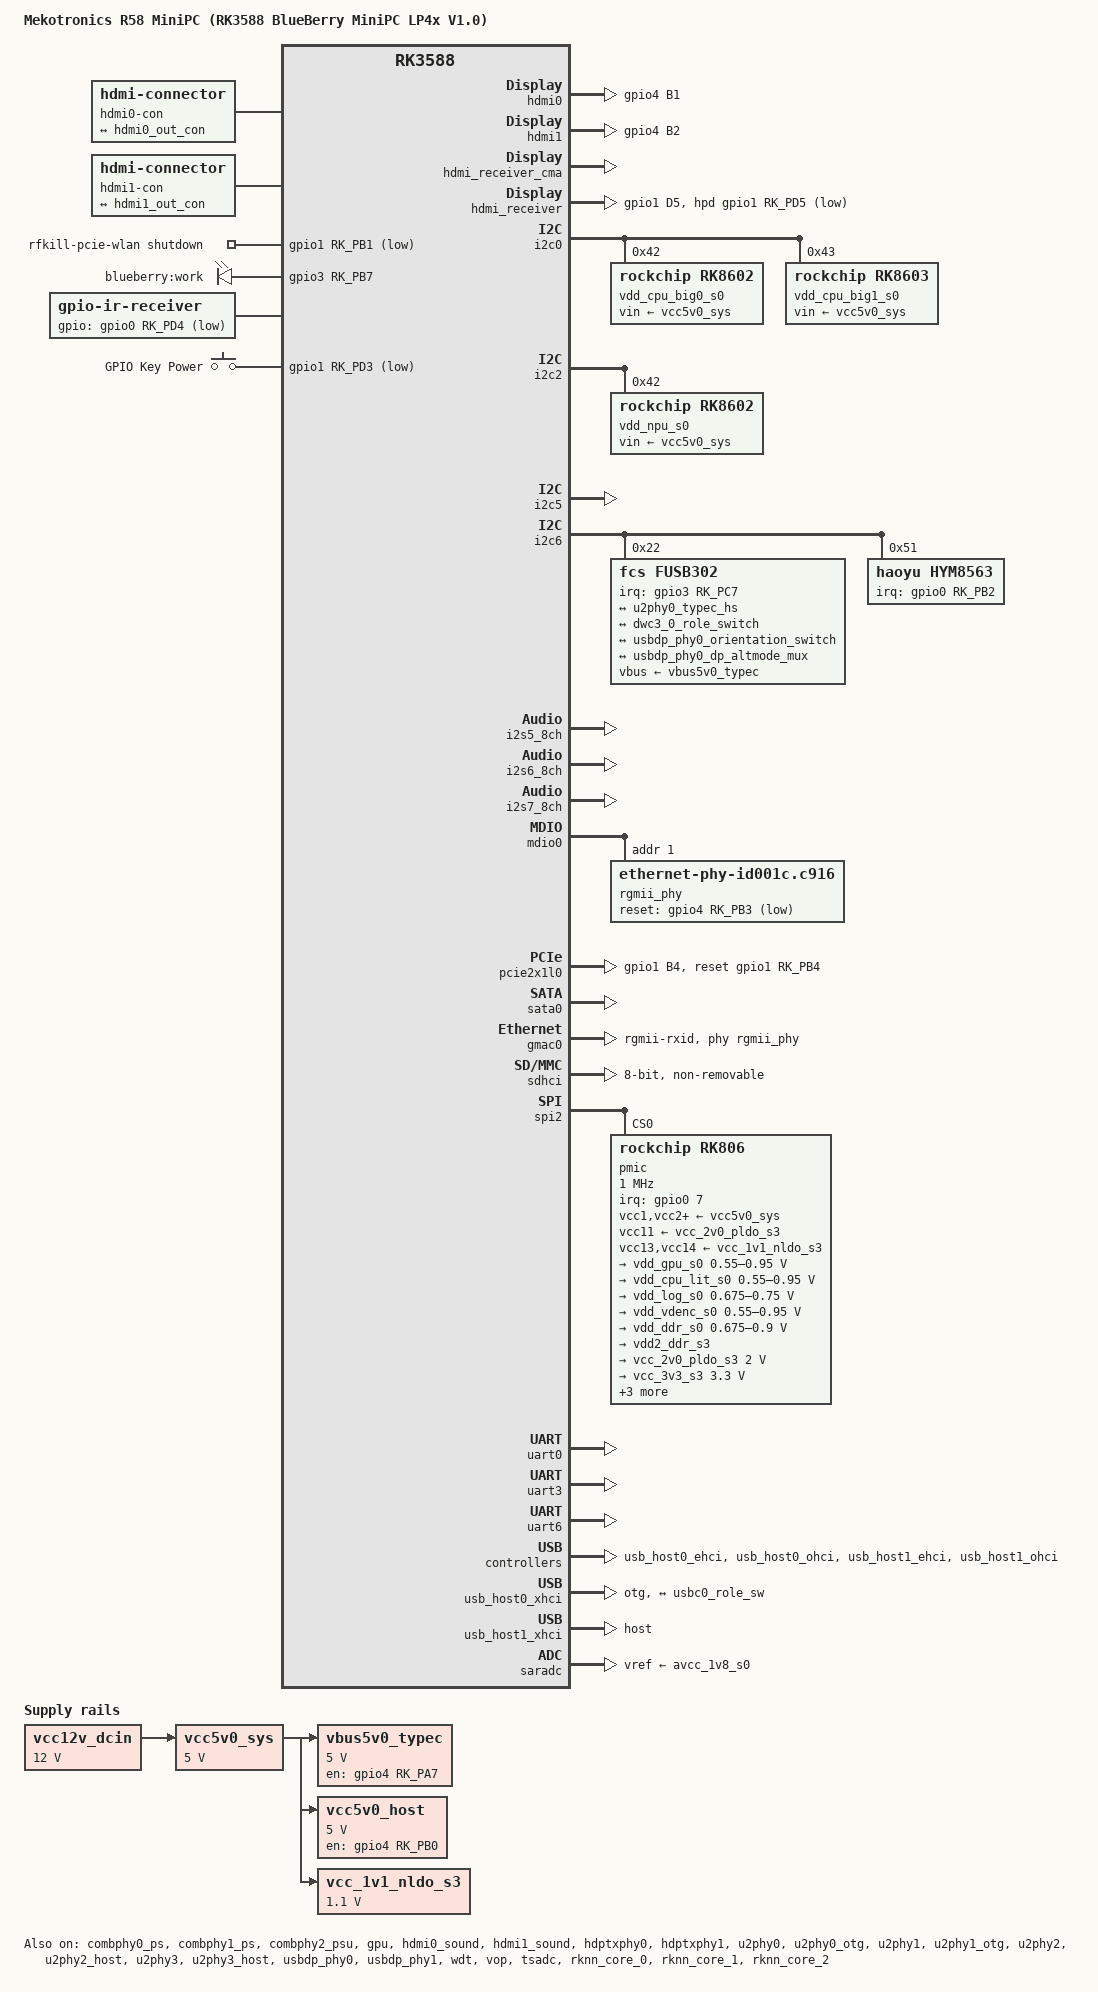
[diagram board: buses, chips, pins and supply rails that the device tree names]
// SPDX-License-Identifier: (GPL-2.0+ OR MIT)
/*
 * Copyright (c) 2026, Corey Moyer <cronmod.dev@gmail.com>
 */

/dts-v1/;

#include <dt-bindings/gpio/gpio.h>
#include <dt-bindings/input/input.h>
#include <dt-bindings/pinctrl/rockchip.h>
#include <dt-bindings/soc/rockchip,vop2.h>
#include <dt-bindings/usb/pd.h>
#include "rk3588.dtsi"

/ {
	model = "Mekotronics R58 MiniPC (RK3588 BlueBerry MiniPC LP4x V1.0)";
	compatible = "rockchip,rk3588-blueberry-minipc", "rockchip,rk3588";

	aliases {
		ethernet0 = &gmac0;
		mmc0 = &sdhci;
	};

	chosen {
		stdout-path = "serial2:1500000n8";
	};

	hdmi0-con {
		compatible = "hdmi-connector";
		type = "a";

		port {
			hdmi0_con_in: endpoint {
				remote-endpoint = <&hdmi0_out_con>;
			};
		};
	};

	hdmi1-con {
		compatible = "hdmi-connector";
		type = "a";

		port {
			hdmi1_con_in: endpoint {
				remote-endpoint = <&hdmi1_out_con>;
			};
		};
	};

	hdmi0-sound {
		compatible = "simple-audio-card";
		simple-audio-card,name = "rockchip-hdmi0";
		simple-audio-card,format = "i2s";
		simple-audio-card,mclk-fs = <128>;

		simple-audio-card,cpu {
			sound-dai = <&i2s5_8ch>;
		};

		simple-audio-card,codec {
			sound-dai = <&hdmi0>;
		};
	};

	hdmi1-sound {
		compatible = "simple-audio-card";
		simple-audio-card,name = "rockchip-hdmi1";
		simple-audio-card,format = "i2s";
		simple-audio-card,mclk-fs = <128>;

		simple-audio-card,cpu {
			sound-dai = <&i2s6_8ch>;
		};

		simple-audio-card,codec {
			sound-dai = <&hdmi1>;
		};
	};

	rfkill {
		compatible = "rfkill-gpio";
		label = "rfkill-pcie-wlan";
		radio-type = "wlan";
		shutdown-gpios = <&gpio1 RK_PB1 GPIO_ACTIVE_LOW>;
	};

	leds: leds {
		compatible = "gpio-leds";
		pinctrl-names = "default";
		pinctrl-0 = <&led_pins>;

/*		wifi_led: wifi-led {
			gpios = <&gpio3 RK_PC5 GPIO_ACTIVE_HIGH>;
			default-state = "off";
			label = "blueberry:wifi";
			function = "wifi";
		};

		hdd_led: hdd-led {
			gpios = <&gpio3 RK_PC1 GPIO_ACTIVE_HIGH>;
			default-state = "off";
			label = "blueberry:hdd";
			function = "disk-io";
		};

		eth_led: eth-led {
			gpios = <&gpio3 RK_PC0 GPIO_ACTIVE_HIGH>;
			default-state = "off";
			label = "blueberry:eth";
			function = "net";
		};*/

		work_led: work-led {
			gpios = <&gpio3 RK_PB7 GPIO_ACTIVE_HIGH>;
			default-state = "on";
			label = "blueberry:work";
			linux,default-trigger = "heartbeat";
			function = "heartbeat";
		};
	};

	ir-receiver {
		compatible = "gpio-ir-receiver";
		gpios = <&gpio0 RK_PD4 GPIO_ACTIVE_LOW>;
		pinctrl-names = "default";
		pinctrl-0 = <&ir_receiver_pin>;
	};

	gpio-keys {
		compatible = "gpio-keys";
		pinctrl-names = "default";
		pinctrl-0 = <&pwrbtn>;

		power {
			debounce-interval = <100>;
			gpios = <&gpio1 RK_PD3 GPIO_ACTIVE_LOW>;
			label = "GPIO Key Power";
			linux,code = <KEY_POWER>;
			wakeup-source;
		};
	};

	vcc12v_dcin: vcc12v-dcin {
		compatible = "regulator-fixed";
		regulator-name = "vcc12v_dcin";
		regulator-always-on;
		regulator-boot-on;
		regulator-min-microvolt = <12000000>;
		regulator-max-microvolt = <12000000>;
	};

	vbus5v0_typec: regulator-vbus5v0-typec {
		compatible = "regulator-fixed";
		regulator-name = "vbus5v0_typec";
		regulator-min-microvolt = <5000000>;
		regulator-max-microvolt = <5000000>;
		enable-active-high;
		gpio = <&gpio4 RK_PA7 GPIO_ACTIVE_HIGH>;
		pinctrl-names = "default";
		pinctrl-0 = <&typec5v_pwren>;
		vin-supply = <&vcc5v0_sys>;
	};

	vcc5v0_sys: vcc5v0-sys {
		compatible = "regulator-fixed";
		regulator-name = "vcc5v0_sys";
		regulator-always-on;
		regulator-boot-on;
		regulator-min-microvolt = <5000000>;
		regulator-max-microvolt = <5000000>;
		vin-supply = <&vcc12v_dcin>;
	};

	vcc5v0_host: vcc5v0-host {
		compatible = "regulator-fixed";
		regulator-name = "vcc5v0_host";
		regulator-boot-on;
		regulator-always-on;
		regulator-min-microvolt = <5000000>;
		regulator-max-microvolt = <5000000>;
		enable-active-high;
		gpio = <&gpio4 RK_PB0 GPIO_ACTIVE_HIGH>;
		pinctrl-names = "default";
		pinctrl-0 = <&vcc5v0_host_en>;
		vin-supply = <&vcc5v0_sys>;
	};

	vcc_1v1_nldo_s3: vcc-1v1-nldo-s3 {
		compatible = "regulator-fixed";
		regulator-name = "vcc_1v1_nldo_s3";
		regulator-always-on;
		regulator-boot-on;
		regulator-min-microvolt = <1100000>;
		regulator-max-microvolt = <1100000>;
		vin-supply = <&vcc5v0_sys>;
	};
};

&combphy0_ps {
	status = "okay";
};

&combphy1_ps {
	status = "okay";
};

&combphy2_psu {
	status = "okay";
};

&cpu_l0 {
	cpu-supply = <&vdd_cpu_lit_s0>;
};

&cpu_l1 {
	cpu-supply = <&vdd_cpu_lit_s0>;
};

&cpu_l2 {
	cpu-supply = <&vdd_cpu_lit_s0>;
};

&cpu_l3 {
	cpu-supply = <&vdd_cpu_lit_s0>;
};

&cpu_b0 {
	cpu-supply = <&vdd_cpu_big0_s0>;
};

&cpu_b1 {
	cpu-supply = <&vdd_cpu_big0_s0>;
};

&cpu_b2 {
	cpu-supply = <&vdd_cpu_big1_s0>;
};

&cpu_b3 {
	cpu-supply = <&vdd_cpu_big1_s0>;
};

&gpu {
	mali-supply = <&vdd_gpu_s0>;
	status = "okay";
};

/*&dp1 {
	pinctrl-0 = <&dp1m0_pins>;
	pinctrl-names = "default";
	status = "okay";
};*/

&hdmi0 {
	enable-gpios = <&gpio4 RK_PB1 GPIO_ACTIVE_HIGH>;
	pinctrl-0 = <&hdmim0_tx0_cec &hdmim0_tx0_hpd
		     &hdmim0_tx0_scl &hdmim0_tx0_sda &hdmi0_tx_on_h>;
	pinctrl-names = "default";
	status = "okay";
};

&hdmi0_in {
	hdmi0_in_vp0: endpoint {
		remote-endpoint = <&vp0_out_hdmi0>;
	};
};

&hdmi0_out {
	hdmi0_out_con: endpoint {
		remote-endpoint = <&hdmi0_con_in>;
	};
};

&hdmi0_sound {
	status = "okay";
};

&hdmi1 {
	enable-gpios = <&gpio4 RK_PB2 GPIO_ACTIVE_HIGH>;
	pinctrl-0 = <&hdmim0_tx1_cec &hdmim0_tx1_hpd
		     &hdmim1_tx1_scl &hdmim1_tx1_sda &hdmi1_tx_on_h>;
	pinctrl-names = "default";
	status = "okay";
};

&hdmi1_in {
	hdmi1_in_vp1: endpoint {
		remote-endpoint = <&vp1_out_hdmi1>;
	};
};

&hdmi1_out {
	hdmi1_out_con: endpoint {
		remote-endpoint = <&hdmi1_con_in>;
	};
};

&hdmi1_sound {
	status = "okay";
};

&hdptxphy0 {
	status = "okay";
};

&hdptxphy1 {
	status = "okay";
};

&hdmi_receiver_cma {
	status = "okay";
};

&hdmi_receiver {
	hpd-gpios = <&gpio1 RK_PD5 GPIO_ACTIVE_LOW>;
	pinctrl-0 = <&hdmim1_rx_cec &hdmim1_rx_hpdin &hdmim1_rx_scl &hdmim1_rx_sda &hdmirx_hpd>;
	pinctrl-names = "default";
	status = "okay";
};

&i2c0 {
	pinctrl-names = "default";
	pinctrl-0 = <&i2c0m2_xfer>;
	status = "okay";

	vdd_cpu_big0_s0: regulator@42 {
		compatible = "rockchip,rk8602";
		reg = <0x42>;
		fcs,suspend-voltage-selector = <1>;
		regulator-name = "vdd_cpu_big0_s0";
		regulator-always-on;
		regulator-boot-on;
		regulator-min-microvolt = <550000>;
		regulator-max-microvolt = <1050000>;
		regulator-ramp-delay = <2300>;
		vin-supply = <&vcc5v0_sys>;

		regulator-state-mem {
			regulator-off-in-suspend;
		};
	};

	vdd_cpu_big1_s0: regulator@43 {
		compatible = "rockchip,rk8603", "rockchip,rk8602";
		reg = <0x43>;
		fcs,suspend-voltage-selector = <1>;
		regulator-name = "vdd_cpu_big1_s0";
		regulator-always-on;
		regulator-boot-on;
		regulator-min-microvolt = <550000>;
		regulator-max-microvolt = <1050000>;
		regulator-ramp-delay = <2300>;
		vin-supply = <&vcc5v0_sys>;

		regulator-state-mem {
			regulator-off-in-suspend;
		};
	};
};

&i2c2 {
	status = "okay";

	vdd_npu_s0: regulator@42 {
		compatible = "rockchip,rk8602";
		reg = <0x42>;
		fcs,suspend-voltage-selector = <1>;
		regulator-name = "vdd_npu_s0";
		regulator-boot-on;
		regulator-always-on;
		regulator-enable-ramp-delay = <500>;
		regulator-min-microvolt = <550000>;
		regulator-max-microvolt = <950000>;
		regulator-ramp-delay = <2300>;
		vin-supply = <&vcc5v0_sys>;

		regulator-state-mem {
			regulator-off-in-suspend;
		};
	};
};

&i2c5 {
	pinctrl-names = "default";
	pinctrl-0 = <&i2c5m3_xfer>;
	status = "okay";
};

&i2c6 {
	status = "okay";

	fusb302: fusb302@22 {
		compatible = "fcs,fusb302";
		reg = <0x22>;
		interrupt-parent = <&gpio3>;
		interrupts = <RK_PC7 IRQ_TYPE_LEVEL_LOW>;
		pinctrl-names = "default";
		pinctrl-0 = <&usbc0_int>;
		vbus-supply = <&vbus5v0_typec>;
		status = "okay";

		usb_con: connector {
			compatible = "usb-c-connector";
			label = "USB-C";
			data-role = "dual";
			power-role = "dual";
			try-power-role = "sink";
			op-sink-microwatt = <1000000>;
			sink-pdos = <PDO_FIXED(5000, 1000, PDO_FIXED_USB_COMM)>;
			source-pdos = <PDO_FIXED(5000, 3000, PDO_FIXED_USB_COMM)>;

			altmodes {
				#address-cells = <1>;
				#size-cells = <0>;

				altmode@0 {
					reg = <0>;
					svid = <0xff01>;
					vdo = <0xffffffff>;
				};
			};

			ports {
				#address-cells = <1>;
				#size-cells = <0>;

				port@0 {
					reg = <0>;
					usbc0_hs_sw: endpoint {
						remote-endpoint = <&u2phy0_typec_hs>;
					};
				};

				/* Port 1: Data Role Switching (DWC3 Core) */
				port@1 {
					reg = <1>;
					usbc0_role_sw: endpoint {
						remote-endpoint = <&dwc3_0_role_switch>;
					};
				};

				/* Port 2: Physical Orientation Configuration */
				port@2 {
					reg = <2>;
					usbc0_orien_sw: endpoint {
						remote-endpoint = <&usbdp_phy0_orientation_switch>;
					};
				};

				/* Port 3: DisplayPort Mux Configuration Link */
				port@3 {
					reg = <3>;
					dp_altmode_mux: endpoint {
						remote-endpoint = <&usbdp_phy0_dp_altmode_mux>;
					};
				};
			};
		};
	};

	hym8563: rtc@51 {
		compatible = "haoyu,hym8563";
		reg = <0x51>;
		#clock-cells = <0>;
		clock-output-names = "hym8563";
		pinctrl-names = "default";
		pinctrl-0 = <&hym8563_int>;
		interrupt-parent = <&gpio0>;
		interrupts = <RK_PB2 IRQ_TYPE_LEVEL_LOW>;
		wakeup-source;
	};
};

/* HDMI0 Sound */
&i2s5_8ch {
	status = "okay";
};

/* HDMI1 Sound */
&i2s6_8ch {
	status = "okay";
};

/* HDMI-IN Sound */
&i2s7_8ch {
	status = "okay";
};

&mdio0 {
	rgmii_phy: ethernet-phy@1 {
		/* RTL8211F */
		compatible = "ethernet-phy-id001c.c916";
		reg = <0x1>;
		pinctrl-names = "default";
		pinctrl-0 = <&rtl8211f_rst>;
		reset-assert-us = <20000>;
		reset-deassert-us = <100000>;
		reset-gpios = <&gpio4 RK_PB3 GPIO_ACTIVE_LOW>;
	};
};

&pcie2x1l0 {
	pinctrl-names = "default";
	pinctrl-0 = <&pcie2_0_rst>;
	reset-gpios = <&gpio1 RK_PB4 GPIO_ACTIVE_HIGH>;
	status = "okay";
};

&sata0 {
	status = "okay";
};

&gmac0 {
	clock_in_out = "output";
	phy-handle = <&rgmii_phy>;
	phy-mode = "rgmii-rxid";
	pinctrl-0 = <&gmac0_miim
		     &gmac0_tx_bus2
		     &gmac0_rx_bus2
		     &gmac0_rgmii_clk
		     &gmac0_rgmii_bus>;
	pinctrl-names = "default";
	rx_delay = <0x00>;
	tx_delay = <0x44>;
	status = "okay";
};

&sdhci {
	bus-width = <8>;
	no-sdio;
	no-sd;
	non-removable;
	max-frequency = <200000000>;
	mmc-hs400-1_8v;
	mmc-hs400-enhanced-strobe;
	status = "okay";
};

&spi2 {
	status = "okay";
	assigned-clocks = <&cru CLK_SPI2>;
	assigned-clock-rates = <200000000>;
	pinctrl-names = "default";
	pinctrl-0 = <&spi2m2_cs0 &spi2m2_pins>;
	num-cs = <1>;

	pmic@0 {
		compatible = "rockchip,rk806";
		spi-max-frequency = <1000000>;
		reg = <0x0>;

		interrupt-parent = <&gpio0>;
		interrupts = <7 IRQ_TYPE_LEVEL_LOW>;

		pinctrl-names = "default";
		pinctrl-0 = <&pmic_pins>, <&rk806_dvs1_null>,
			    <&rk806_dvs2_null>, <&rk806_dvs3_null>;

		system-power-controller;

		vcc1-supply = <&vcc5v0_sys>;
		vcc2-supply = <&vcc5v0_sys>;
		vcc3-supply = <&vcc5v0_sys>;
		vcc4-supply = <&vcc5v0_sys>;
		vcc5-supply = <&vcc5v0_sys>;
		vcc6-supply = <&vcc5v0_sys>;
		vcc7-supply = <&vcc5v0_sys>;
		vcc8-supply = <&vcc5v0_sys>;
		vcc9-supply = <&vcc5v0_sys>;
		vcc10-supply = <&vcc5v0_sys>;
		vcc11-supply = <&vcc_2v0_pldo_s3>;
		vcc12-supply = <&vcc5v0_sys>;
		vcc13-supply = <&vcc_1v1_nldo_s3>;
		vcc14-supply = <&vcc_1v1_nldo_s3>;
		vcca-supply = <&vcc5v0_sys>;

		gpio-controller;
		#gpio-cells = <2>;

		rk806_dvs1_null: dvs1-null-pins {
			pins = "gpio_pwrctrl1";
			function = "pin_fun0";
		};

		rk806_dvs2_null: dvs2-null-pins {
			pins = "gpio_pwrctrl2";
			function = "pin_fun0";
		};

		rk806_dvs3_null: dvs3-null-pins {
			pins = "gpio_pwrctrl3";
			function = "pin_fun0";
		};

		regulators {
			vdd_gpu_s0: vdd_gpu_mem_s0: dcdc-reg1 {
				regulator-boot-on;
				regulator-min-microvolt = <550000>;
				regulator-max-microvolt = <950000>;
				regulator-ramp-delay = <12500>;
				regulator-name = "vdd_gpu_s0";
				regulator-enable-ramp-delay = <400>;

				regulator-state-mem {
					regulator-off-in-suspend;
				};
			};

			vdd_cpu_lit_s0: vdd_cpu_lit_mem_s0: dcdc-reg2 {
				regulator-always-on;
				regulator-boot-on;
				regulator-min-microvolt = <550000>;
				regulator-max-microvolt = <950000>;
				regulator-ramp-delay = <12500>;
				regulator-name = "vdd_cpu_lit_s0";

				regulator-state-mem {
					regulator-off-in-suspend;
				};
			};

			vdd_log_s0: dcdc-reg3 {
				regulator-always-on;
				regulator-boot-on;
				regulator-min-microvolt = <675000>;
				regulator-max-microvolt = <750000>;
				regulator-ramp-delay = <12500>;
				regulator-name = "vdd_log_s0";

				regulator-state-mem {
					regulator-off-in-suspend;
					regulator-suspend-microvolt = <750000>;
				};
			};

			vdd_vdenc_s0: vdd_vdenc_mem_s0: dcdc-reg4 {
				regulator-always-on;
				regulator-boot-on;
				regulator-min-microvolt = <550000>;
				regulator-max-microvolt = <950000>;
				regulator-ramp-delay = <12500>;
				regulator-name = "vdd_vdenc_s0";

				regulator-state-mem {
					regulator-off-in-suspend;
				};
			};

			vdd_ddr_s0: dcdc-reg5 {
				regulator-always-on;
				regulator-boot-on;
				regulator-min-microvolt = <675000>;
				regulator-max-microvolt = <900000>;
				regulator-ramp-delay = <12500>;
				regulator-name = "vdd_ddr_s0";

				regulator-state-mem {
					regulator-off-in-suspend;
					regulator-suspend-microvolt = <850000>;
				};
			};

			vdd2_ddr_s3: dcdc-reg6 {
				regulator-always-on;
				regulator-boot-on;
				regulator-name = "vdd2_ddr_s3";

				regulator-state-mem {
					regulator-on-in-suspend;
				};
			};

			vcc_2v0_pldo_s3: dcdc-reg7 {
				regulator-always-on;
				regulator-boot-on;
				regulator-min-microvolt = <2000000>;
				regulator-max-microvolt = <2000000>;
				regulator-ramp-delay = <12500>;
				regulator-name = "vdd_2v0_pldo_s3";

				regulator-state-mem {
					regulator-on-in-suspend;
					regulator-suspend-microvolt = <2000000>;
				};
			};

			vcc_3v3_s3: dcdc-reg8 {
				regulator-always-on;
				regulator-boot-on;
				regulator-min-microvolt = <3300000>;
				regulator-max-microvolt = <3300000>;
				regulator-name = "vcc_3v3_s3";

				regulator-state-mem {
					regulator-on-in-suspend;
					regulator-suspend-microvolt = <3300000>;
				};
			};

			vddq_ddr_s0: dcdc-reg9 {
				regulator-always-on;
				regulator-boot-on;
				regulator-name = "vddq_ddr_s0";

				regulator-state-mem {
					regulator-off-in-suspend;
				};
			};

			vcc_1v8_s3: dcdc-reg10 {
				regulator-always-on;
				regulator-boot-on;
				regulator-min-microvolt = <1800000>;
				regulator-max-microvolt = <1800000>;
				regulator-name = "vcc_1v8_s3";

				regulator-state-mem {
					regulator-on-in-suspend;
					regulator-suspend-microvolt = <1800000>;
				};
			};

			avcc_1v8_s0: pldo-reg1 {
				regulator-always-on;
				regulator-boot-on;
				regulator-min-microvolt = <1800000>;
				regulator-max-microvolt = <1800000>;
				regulator-name = "avcc_1v8_s0";

				regulator-state-mem {
					regulator-off-in-suspend;
				};
			};

			vcc_1v8_s0: pldo-reg2 {
				regulator-always-on;
				regulator-boot-on;
				regulator-min-microvolt = <1800000>;
				regulator-max-microvolt = <1800000>;
				regulator-name = "vcc_1v8_s0";

				regulator-state-mem {
					regulator-off-in-suspend;
					regulator-suspend-microvolt = <1800000>;
				};
			};

			avdd_1v2_s0: pldo-reg3 {
				regulator-always-on;
				regulator-boot-on;
				regulator-min-microvolt = <1200000>;
				regulator-max-microvolt = <1200000>;
				regulator-name = "avdd_1v2_s0";

				regulator-state-mem {
					regulator-off-in-suspend;
				};
			};

			vcc_3v3_s0: pldo-reg4 {
				regulator-always-on;
				regulator-boot-on;
				regulator-min-microvolt = <3300000>;
				regulator-max-microvolt = <3300000>;
				regulator-ramp-delay = <12500>;
				regulator-name = "vcc_3v3_s0";

				regulator-state-mem {
					regulator-off-in-suspend;
				};
			};

			vccio_sd_s0: pldo-reg5 {
				regulator-always-on;
				regulator-boot-on;
				regulator-min-microvolt = <1800000>;
				regulator-max-microvolt = <3300000>;
				regulator-ramp-delay = <12500>;
				regulator-name = "vccio_sd_s0";

				regulator-state-mem {
					regulator-off-in-suspend;
				};
			};

			pldo6_s3: pldo-reg6 {
				regulator-always-on;
				regulator-boot-on;
				regulator-min-microvolt = <1800000>;
				regulator-max-microvolt = <1800000>;
				regulator-name = "pldo6_s3";

				regulator-state-mem {
					regulator-on-in-suspend;
					regulator-suspend-microvolt = <1800000>;
				};
			};

			vdd_0v75_s3: nldo-reg1 {
				regulator-always-on;
				regulator-boot-on;
				regulator-min-microvolt = <750000>;
				regulator-max-microvolt = <750000>;
				regulator-name = "vdd_0v75_s3";

				regulator-state-mem {
					regulator-on-in-suspend;
					regulator-suspend-microvolt = <750000>;
				};
			};

			vdd_ddr_pll_s0: nldo-reg2 {
				regulator-always-on;
				regulator-boot-on;
				regulator-min-microvolt = <850000>;
				regulator-max-microvolt = <850000>;
				regulator-name = "vdd_ddr_pll_s0";

				regulator-state-mem {
					regulator-off-in-suspend;
					regulator-suspend-microvolt = <850000>;
				};
			};

			avdd_0v75_s0: nldo-reg3 {
				regulator-always-on;
				regulator-boot-on;
				regulator-min-microvolt = <750000>;
				regulator-max-microvolt = <750000>;
				regulator-name = "avdd_0v75_s0";

				regulator-state-mem {
					regulator-off-in-suspend;
				};
			};

			vdd_0v85_s0: nldo-reg4 {
				regulator-always-on;
				regulator-boot-on;
				regulator-min-microvolt = <850000>;
				regulator-max-microvolt = <850000>;
				regulator-name = "vdd_0v85_s0";

				regulator-state-mem {
					regulator-off-in-suspend;
				};
			};

			vdd_0v75_s0: nldo-reg5 {
				regulator-always-on;
				regulator-boot-on;
				regulator-min-microvolt = <750000>;
				regulator-max-microvolt = <750000>;
				regulator-name = "vdd_0v75_s0";

				regulator-state-mem {
					regulator-off-in-suspend;
				};
			};
		};
	};
};

&uart0 {
	status = "okay";
	pinctrl-names = "default";
	pinctrl-0 = <&uart0m2_xfer>;
};

&uart3 {
	status = "okay";
	pinctrl-names = "default";
	pinctrl-0 = <&uart3m2_xfer>;
};

&uart6 {
	status = "okay";
	pinctrl-names = "default";
	pinctrl-0 = <&uart6m1_xfer>, <&uart6m1_rtsn>, <&uart6m1_ctsn>;
	uart-has-rtscts;

	bluetooth {
		// TODO: Correct compatible strings
//		compatible = "realtek,rtl8852bs-bt", "realtek,rtl8822cs-bt";
		enable-gpios = <&gpio1 RK_PB2 GPIO_ACTIVE_HIGH>;
		host-wake-gpios = <&gpio1 RK_PA4 GPIO_ACTIVE_HIGH>;
		device-wake-gpios = <&gpio1 RK_PB0 GPIO_ACTIVE_HIGH>;
		pinctrl-names = "default";
		pinctrl-0 = <&bt_reset>, <&bt_host_wake>, <&bt_dev_wake>;
	};
};

/* Type-C Port USB 2.0 Base */
&u2phy0 {
	status = "okay";
};

&u2phy0_otg {
	status = "okay";

	port {
		u2phy0_typec_hs: endpoint {
			remote-endpoint = <&usbc0_hs_sw>;
		};
	};
};

/* Secondary USB 3.0 / Combo Link Companion */
&u2phy1 {
	status = "okay";
};

&u2phy1_otg {
	phy-supply = <&vcc5v0_host>;
	status = "okay";
};

/* USB 2.0 Hardware Port 1 */
&u2phy2 {
	status = "okay";
};

&u2phy2_host {
	phy-supply = <&vcc5v0_host>;
	status = "okay";
};

/* USB 2.0 Hardware Port 2 */
&u2phy3 {
	status = "okay";
};

&u2phy3_host {
	phy-supply = <&vcc5v0_host>;
	status = "okay";
};

/* Combo PHY for Reversible Signal Muxing */
&usbdp_phy0 {
	orientation-switch;
	svid = <0xff01>;
	sbu1-dc-gpios = <&gpio0 RK_PC6 GPIO_ACTIVE_HIGH>;
	sbu2-dc-gpios = <&gpio0 RK_PD3 GPIO_ACTIVE_HIGH>;
	status = "okay";

	port {
		#address-cells = <1>;
		#size-cells = <0>;

		usbdp_phy0_orientation_switch: endpoint@0 {
			reg = <0>;
			remote-endpoint = <&usbc0_orien_sw>;
		};

		usbdp_phy0_dp_altmode_mux: endpoint@1 {
			reg = <1>;
			remote-endpoint = <&dp_altmode_mux>;
		};
	};
};

&usbdp_phy1 {
	rockchip,dp-lane-mux = < 0 1 2 3 >;
	status = "okay";
};

/* Legacy USB 2.0 Hub Drivers */
&usb_host0_ehci {
	status = "okay";
};

&usb_host0_ohci {
	status = "okay";
};

&usb_host1_ehci {
	status = "okay";
};

&usb_host1_ohci {
	status = "okay";
};

/* Type-C Controller - Primary Reversible Engine Wrapper */
&usb_host0_xhci {
	dr_mode = "otg";
	usb-role-switch;
	status = "okay";

	port {
		dwc3_0_role_switch: endpoint {
			remote-endpoint = <&usbc0_role_sw>;
		};
	};
};

/* USB 3.0 Type-A Port Controller Configuration */
&usb_host1_xhci {
	dr_mode = "host";
	maximum-speed = "high-speed";
	status = "okay";
};

&wdt {
	status = "okay";
};

&pd_gpu {
	domain-supply = <&vdd_gpu_s0>;
};

&pd_npu {
	domain-supply = <&vdd_npu_s0>;
};

&pd_rkvdec0 {
	domain-supply = <&vdd_vdenc_s0>;
};

&pd_rkvdec1 {
	domain-supply = <&vdd_vdenc_s0>;
};

&pd_venc0 {
	domain-supply = <&vdd_vdenc_s0>;
};

&pd_venc1 {
	domain-supply = <&vdd_vdenc_s0>;
};

&pinctrl {
	leds {
		led_pins: led-pins {
			rockchip,pins = /*<3 RK_PC5 RK_FUNC_GPIO &pcfg_pull_none>,
				<3 RK_PC1 RK_FUNC_GPIO &pcfg_pull_none>,
				<3 RK_PC0 RK_FUNC_GPIO &pcfg_pull_none>,*/
				<3 RK_PB7 RK_FUNC_GPIO &pcfg_pull_none>;
		};
	};

	ir-receiver {
		ir_receiver_pin: ir-receiver-pin {
			rockchip,pins = <0 RK_PD4 RK_FUNC_GPIO &pcfg_pull_none>;
		};
	};

	buttons {
		pwrbtn: pwrbtn {
			rockchip,pins = <1 RK_PD3 RK_FUNC_GPIO &pcfg_pull_up>;
		};
	};

	rtl8211f {
		rtl8211f_rst: rtl8211f-rst {
			rockchip,pins = <4 RK_PB3 RK_FUNC_GPIO &pcfg_pull_none>;
		};

	};

	hdmi {
		hdmi0_tx_on_h: hdmi0-tx-on-h {
			rockchip,pins = <4 RK_PB1 RK_FUNC_GPIO &pcfg_pull_none>;
		};

		hdmi1_tx_on_h: hdmi1-tx-on-h {
			rockchip,pins = <4 RK_PB2 RK_FUNC_GPIO &pcfg_pull_none>;
		};
	};

	hdmirx {
		hdmirx_hpd: hdmirx-5v-detection {
			rockchip,pins = <1 RK_PD5 RK_FUNC_GPIO &pcfg_pull_none>;
		};
	};

	hym8563 {
		hym8563_int: hym8563-int {
			rockchip,pins = <0 RK_PB2 RK_FUNC_GPIO &pcfg_pull_up>;
		};
	};

	pcie2 {
		pcie2_0_rst: pcie2-0-rst {
			rockchip,pins = <1 RK_PB4 RK_FUNC_GPIO &pcfg_pull_none>;
		};
	};

	usb {
		vcc5v0_host_en: vcc5v0-host-en {
			rockchip,pins = <4 RK_PB0 RK_FUNC_GPIO &pcfg_pull_none>;
		};
	};

	usb-typec {
		typec5v_pwren: typec5v-pwren {
			rockchip,pins = <4 RK_PA7 RK_FUNC_GPIO &pcfg_pull_none>;
		};

		usbc0_int: usbc0-int {
			rockchip,pins = <3 RK_PC7 RK_FUNC_GPIO &pcfg_pull_up>;
		};
	};

	wlan {
		wifi_host_wake_irq: wifi-host-wake-irq {
			rockchip,pins = <1 RK_PA7 RK_FUNC_GPIO &pcfg_pull_down>;
		};

		wifi_pwren: wifi-pwren {
			rockchip,pins = <1 RK_PB1 RK_FUNC_GPIO &pcfg_pull_up>;
		};
	};

	bluetooth {
		bt_reset: bt-reset {
			rockchip,pins = <1 RK_PB2 RK_FUNC_GPIO &pcfg_pull_none>;
		};

		bt_host_wake: bt-host-wake {
			rockchip,pins = <1 RK_PA4 RK_FUNC_GPIO &pcfg_pull_down>;
		};

		bt_dev_wake: bt-dev-wake {
			rockchip,pins = <1 RK_PB0 RK_FUNC_GPIO &pcfg_pull_up>;
		};
	};
};

&vop {
	status = "okay";
};

&vop_mmu {
	status = "okay";
};

&vp0 {
	vp0_out_hdmi0: endpoint@ROCKCHIP_VOP2_EP_HDMI0 {
		reg = <ROCKCHIP_VOP2_EP_HDMI0>;
		remote-endpoint = <&hdmi0_in_vp0>;
	};
};

&vp1 {
	vp1_out_hdmi1: endpoint@ROCKCHIP_VOP2_EP_HDMI1 {
		reg = <ROCKCHIP_VOP2_EP_HDMI1>;
		remote-endpoint = <&hdmi1_in_vp1>;
	};
};

/*&vp2 {
	vp2_out_dp1: endpoint@a {
		reg = <ROCKCHIP_VOP2_EP_DP1>;
		remote-endpoint = <&dp1_in_vp2>;
	};
};*/

&saradc {
	status = "okay";
	vref-supply = <&avcc_1v8_s0>;
};

&tsadc {
	status = "okay";
};

&rknn_core_0 {
	npu-supply = <&vdd_npu_s0>;
	sram-supply = <&vdd_npu_s0>;
	status = "okay";
};

&rknn_core_1 {
	npu-supply = <&vdd_npu_s0>;
	sram-supply = <&vdd_npu_s0>;
	status = "okay";
};

&rknn_core_2 {
	npu-supply = <&vdd_npu_s0>;
	sram-supply = <&vdd_npu_s0>;
	status = "okay";
};

&rknn_mmu_0 {
	status = "okay";
};

&rknn_mmu_1 {
	status = "okay";
};

&rknn_mmu_2 {
	status = "okay";
};
